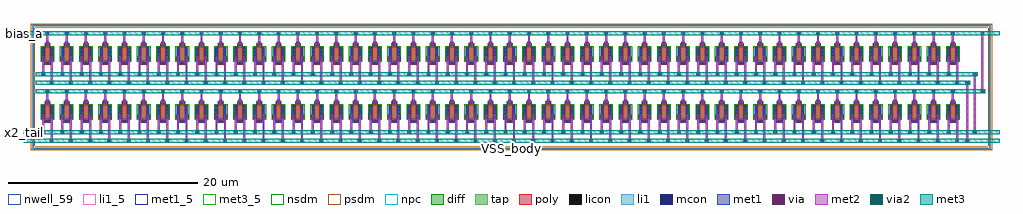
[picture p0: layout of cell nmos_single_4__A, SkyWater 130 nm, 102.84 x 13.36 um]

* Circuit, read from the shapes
.subckt nmos_single_4__A VSS VSS_body bias_a x2_tail
XM1 VSS bias_a x2_tail VSS_body sky130_fd_pr__nfet_01v8 w=1.4 l=0.6 m=96
.ends

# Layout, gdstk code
import gdstk
lib = gdstk.Library(unit=1e-6, precision=1e-09)
def R(c, l, rs):  # rectangles x0, y0, x1, y1
    for r in rs: c.add(gdstk.rectangle(r[:2], r[2:], *l))
def A(c, l, x, y, w, h, nx, ny, dx, dy):  # array of equal rectangles
    R(c, l, [(x+i*dx, y+j*dy, x+i*dx+w, y+j*dy+h) for i in range(nx) for j in range(ny)])
nwell_59 = (64, 59)
diff = (65, 20)
tap = (65, 44)
poly = (66, 20)
licon = (66, 44)
li1_5 = (67, 5)
li1 = (67, 20)
mcon = (67, 44)
met1_5 = (68, 5)
met1 = (68, 20)
via = (68, 44)
met2 = (69, 20)
via2 = (69, 44)
met3_5 = (70, 5)
met3 = (70, 20)
nsdm = (93, 44)
psdm = (94, 20)
npc = (95, 20)

sky130_fd_pr__nfet_01v8_ = lib.new_cell('sky130_fd_pr__nfet_01v8_KCM6UP')
R(sky130_fd_pr__nfet_01v8_, diff, [(-0.59,-0.7,0.59,0.7)])
R(sky130_fd_pr__nfet_01v8_, poly, [(-0.3,-1.14,0.3,1.14)])
A(sky130_fd_pr__nfet_01v8_, licon, -0.53, -0.595, 0.17, 0.17, 1, 4, 0, 0.34)
A(sky130_fd_pr__nfet_01v8_, licon, 0.36, -0.595, 0.17, 0.17, 1, 4, 0, 0.34)
R(sky130_fd_pr__nfet_01v8_, licon, [(-0.085,-1.06,0.085,-0.89), (-0.085,0.89,0.085,1.06)])
R(sky130_fd_pr__nfet_01v8_, li1, [(-0.3,-1.06,0.3,-0.89), (-0.53,-0.72,-0.36,0.72), (0.36,-0.72,0.53,0.72), (-0.3,0.89,0.3,1.06)])
A(sky130_fd_pr__nfet_01v8_, mcon, -0.53, -0.625, 0.17, 0.17, 1, 4, 0, 0.36)
A(sky130_fd_pr__nfet_01v8_, mcon, 0.36, -0.625, 0.17, 0.17, 1, 4, 0, 0.36)
R(sky130_fd_pr__nfet_01v8_, mcon, [(-0.085,-1.06,0.085,-0.89), (-0.085,0.89,0.085,1.06)])
R(sky130_fd_pr__nfet_01v8_, met1, [(-0.28,-1.09,0.28,-0.86), (-0.56,-0.7,-0.33,0.7), (0.33,-0.7,0.56,0.7), (-0.28,0.86,0.28,1.09)])
R(sky130_fd_pr__nfet_01v8_, nsdm, [(-0.715,-0.825,0.715,0.825)])
R(sky130_fd_pr__nfet_01v8_, npc, [(-0.185,-1.16,0.185,-0.79), (-0.185,0.79,0.185,1.16)])
sky130_fd_pr__nfet_01v8_.add(gdstk.Label('D', (-0.445,0), layer=67, texttype=5))
sky130_fd_pr__nfet_01v8_.add(gdstk.Label('S', (0.445,0), layer=67, texttype=5))
sky130_fd_pr__nfet_01v8_.add(gdstk.Label('G', (0,0.975), layer=67, texttype=5))

nfet_01v8_w1p4_l0p6_m96_ = lib.new_cell('nfet_01v8_W1p4_L0p6_m96__nf1_gboth_sdfull_ng')
R(nfet_01v8_w1p4_l0p6_m96_, nwell_59, [(0.05,1.09,0.15,1.19)])
R(nfet_01v8_w1p4_l0p6_m96_, met1_5, [(0.03,1.14,0.26,1.34), (0.92,1.14,1.15,1.34), (0.31,2,0.87,2.23)])
R(nfet_01v8_w1p4_l0p6_m96_, met1, [(0.03,1.14,0.26,1.34), (0.92,1.14,1.15,1.34), (0.31,2,0.87,2.23)])
nfet_01v8_w1p4_l0p6_m96_.add(gdstk.Reference(sky130_fd_pr__nfet_01v8_, (0.59,1.14)))
nfet_01v8_w1p4_l0p6_m96_.add(gdstk.Label('D', (0.145,1.24), layer=68, texttype=5))
nfet_01v8_w1p4_l0p6_m96_.add(gdstk.Label('S', (1.035,1.24), layer=68, texttype=5))
nfet_01v8_w1p4_l0p6_m96_.add(gdstk.Label('G', (0.59,2.115), layer=68, texttype=5))
nfet_01v8_w1p4_l0p6_m96_.add(gdstk.Label('B', (0.1,1.14), layer=64, texttype=59))

nmos_single_4__a = lib.new_cell('nmos_single_4__A')
R(nmos_single_4__a, tap, [(-0.885,-2.785,100.125,-2.615), (-0.885,-2.615,-0.715,10.155), (99.955,-2.615,100.125,10.155), (-0.885,10.155,100.125,10.325)])
A(nmos_single_4__a, licon, -0.445, -2.785, 0.17, 0.17, 295, 2, 0.34, 12.94)
A(nmos_single_4__a, licon, -0.885, -2.435, 0.17, 0.17, 1, 37, 0, 0.34)
A(nmos_single_4__a, licon, 99.955, -2.435, 0.17, 0.17, 1, 37, 0, 0.34)
R(nmos_single_4__a, li1_5, [(49.57,-2.75,49.67,-2.65)])
R(nmos_single_4__a, li1, [(-0.885,-2.785,100.125,-2.615), (-0.885,-2.615,-0.715,10.155), (99.955,-2.615,100.125,10.155), (-0.885,10.155,100.125,10.325)])
A(nmos_single_4__a, met1, 0.535, 2.05, 0.36, 0.36, 48, 2, 2.03, 6.12)
R(nmos_single_4__a, met1, [(0.09,0.46,0.45,0.82), (0.98,0.46,1.34,0.82), (2.12,0.46,2.48,0.82), (3.01,0.46,3.37,0.82), (4.15,0.46,4.51,0.82), (5.04,0.46,5.4,0.82), (6.18,0.46,6.54,0.82), (7.07,0.46,7.43,0.82), (8.21,0.46,8.57,0.82), (9.1,0.46,9.46,0.82), (10.24,0.46,10.6,0.82), (11.13,0.46,11.49,0.82), (12.27,0.46,12.63,0.82), (13.16,0.46,13.52,0.82), (14.3,0.46,14.66,0.82), (15.19,0.46,15.55,0.82), (16.33,0.46,16.69,0.82), (17.22,0.46,17.58,0.82), (18.36,0.46,18.72,0.82), (19.25,0.46,19.61,0.82), (20.39,0.46,20.75,0.82), (21.28,0.46,21.64,0.82), (22.42,0.46,22.78,0.82), (23.31,0.46,23.67,0.82), (24.45,0.46,24.81,0.82), (25.34,0.46,25.7,0.82), (26.48,0.46,26.84,0.82), (27.37,0.46,27.73,0.82), (28.51,0.46,28.87,0.82), (29.4,0.46,29.76,0.82), (30.54,0.46,30.9,0.82), (31.43,0.46,31.79,0.82), (32.57,0.46,32.93,0.82), (33.46,0.46,33.82,0.82), (34.6,0.46,34.96,0.82), (35.49,0.46,35.85,0.82), (36.63,0.46,36.99,0.82), (37.52,0.46,37.88,0.82), (38.66,0.46,39.02,0.82), (39.55,0.46,39.91,0.82), (40.69,0.46,41.05,0.82), (41.58,0.46,41.94,0.82), (42.72,0.46,43.08,0.82), (43.61,0.46,43.97,0.82), (44.75,0.46,45.11,0.82), (45.64,0.46,46,0.82), (46.78,0.46,47.14,0.82), (47.67,0.46,48.03,0.82), (48.81,0.46,49.17,0.82), (49.7,0.46,50.06,0.82), (50.84,0.46,51.2,0.82), (51.73,0.46,52.09,0.82), (52.87,0.46,53.23,0.82), (53.76,0.46,54.12,0.82), (54.9,0.46,55.26,0.82), (55.79,0.46,56.15,0.82), (56.93,0.46,57.29,0.82), (57.82,0.46,58.18,0.82), (58.96,0.46,59.32,0.82), (59.85,0.46,60.21,0.82), (60.99,0.46,61.35,0.82), (61.88,0.46,62.24,0.82), (63.02,0.46,63.38,0.82), (63.91,0.46,64.27,0.82), (65.05,0.46,65.41,0.82), (65.94,0.46,66.3,0.82), (67.08,0.46,67.44,0.82), (67.97,0.46,68.33,0.82), (69.11,0.46,69.47,0.82), (70,0.46,70.36,0.82), (71.14,0.46,71.5,0.82), (72.03,0.46,72.39,0.82), (73.17,0.46,73.53,0.82), (74.06,0.46,74.42,0.82), (75.2,0.46,75.56,0.82), (76.09,0.46,76.45,0.82), (77.23,0.46,77.59,0.82), (78.12,0.46,78.48,0.82), (79.26,0.46,79.62,0.82), (80.15,0.46,80.51,0.82), (81.29,0.46,81.65,0.82), (82.18,0.46,82.54,0.82), (83.32,0.46,83.68,0.82), (84.21,0.46,84.57,0.82), (85.35,0.46,85.71,0.82), (86.24,0.46,86.6,0.82), (87.38,0.46,87.74,0.82), (88.27,0.46,88.63,0.82), (89.41,0.46,89.77,0.82), (90.3,0.46,90.66,0.82), (91.44,0.46,91.8,0.82), (92.33,0.46,92.69,0.82), (93.47,0.46,93.83,0.82), (94.36,0.46,94.72,0.82), (95.5,0.46,95.86,0.82), (96.39,0.46,96.75,0.82), (0.09,6.58,0.45,6.94), (0.98,6.58,1.34,6.94), (2.12,6.58,2.48,6.94), (3.01,6.58,3.37,6.94), (4.15,6.58,4.51,6.94), (5.04,6.58,5.4,6.94), (6.18,6.58,6.54,6.94), (7.07,6.58,7.43,6.94), (8.21,6.58,8.57,6.94), (9.1,6.58,9.46,6.94), (10.24,6.58,10.6,6.94), (11.13,6.58,11.49,6.94), (12.27,6.58,12.63,6.94), (13.16,6.58,13.52,6.94), (14.3,6.58,14.66,6.94), (15.19,6.58,15.55,6.94), (16.33,6.58,16.69,6.94), (17.22,6.58,17.58,6.94), (18.36,6.58,18.72,6.94), (19.25,6.58,19.61,6.94), (20.39,6.58,20.75,6.94), (21.28,6.58,21.64,6.94), (22.42,6.58,22.78,6.94), (23.31,6.58,23.67,6.94), (24.45,6.58,24.81,6.94), (25.34,6.58,25.7,6.94), (26.48,6.58,26.84,6.94), (27.37,6.58,27.73,6.94), (28.51,6.58,28.87,6.94), (29.4,6.58,29.76,6.94), (30.54,6.58,30.9,6.94), (31.43,6.58,31.79,6.94), (32.57,6.58,32.93,6.94), (33.46,6.58,33.82,6.94), (34.6,6.58,34.96,6.94), (35.49,6.58,35.85,6.94), (36.63,6.58,36.99,6.94), (37.52,6.58,37.88,6.94), (38.66,6.58,39.02,6.94), (39.55,6.58,39.91,6.94), (40.69,6.58,41.05,6.94), (41.58,6.58,41.94,6.94), (42.72,6.58,43.08,6.94), (43.61,6.58,43.97,6.94), (44.75,6.58,45.11,6.94), (45.64,6.58,46,6.94), (46.78,6.58,47.14,6.94), (47.67,6.58,48.03,6.94), (48.81,6.58,49.17,6.94), (49.7,6.58,50.06,6.94), (50.84,6.58,51.2,6.94), (51.73,6.58,52.09,6.94), (52.87,6.58,53.23,6.94), (53.76,6.58,54.12,6.94), (54.9,6.58,55.26,6.94), (55.79,6.58,56.15,6.94), (56.93,6.58,57.29,6.94), (57.82,6.58,58.18,6.94), (58.96,6.58,59.32,6.94), (59.85,6.58,60.21,6.94), (60.99,6.58,61.35,6.94), (61.88,6.58,62.24,6.94), (63.02,6.58,63.38,6.94), (63.91,6.58,64.27,6.94), (65.05,6.58,65.41,6.94), (65.94,6.58,66.3,6.94), (67.08,6.58,67.44,6.94), (67.97,6.58,68.33,6.94), (69.11,6.58,69.47,6.94), (70,6.58,70.36,6.94), (71.14,6.58,71.5,6.94), (72.03,6.58,72.39,6.94), (73.17,6.58,73.53,6.94), (74.06,6.58,74.42,6.94), (75.2,6.58,75.56,6.94), (76.09,6.58,76.45,6.94), (77.23,6.58,77.59,6.94), (78.12,6.58,78.48,6.94), (79.26,6.58,79.62,6.94), (80.15,6.58,80.51,6.94), (81.29,6.58,81.65,6.94), (82.18,6.58,82.54,6.94), (83.32,6.58,83.68,6.94), (84.21,6.58,84.57,6.94), (85.35,6.58,85.71,6.94), (86.24,6.58,86.6,6.94), (87.38,6.58,87.74,6.94), (88.27,6.58,88.63,6.94), (89.41,6.58,89.77,6.94), (90.3,6.58,90.66,6.94), (91.44,6.58,91.8,6.94), (92.33,6.58,92.69,6.94), (93.47,6.58,93.83,6.94), (94.36,6.58,94.72,6.94), (95.5,6.58,95.86,6.94), (96.39,6.58,96.75,6.94)])
A(nmos_single_4__a, via, 0.64, 2.155, 0.15, 0.15, 48, 2, 2.03, 6.12)
R(nmos_single_4__a, via, [(0.195,0.565,0.345,0.715), (1.085,0.565,1.235,0.715), (2.225,0.565,2.375,0.715), (3.115,0.565,3.265,0.715), (4.255,0.565,4.405,0.715), (5.145,0.565,5.295,0.715), (6.285,0.565,6.435,0.715), (7.175,0.565,7.325,0.715), (8.315,0.565,8.465,0.715), (9.205,0.565,9.355,0.715), (10.345,0.565,10.495,0.715), (11.235,0.565,11.385,0.715), (12.375,0.565,12.525,0.715), (13.265,0.565,13.415,0.715), (14.405,0.565,14.555,0.715), (15.295,0.565,15.445,0.715), (16.435,0.565,16.585,0.715), (17.325,0.565,17.475,0.715), (18.465,0.565,18.615,0.715), (19.355,0.565,19.505,0.715), (20.495,0.565,20.645,0.715), (21.385,0.565,21.535,0.715), (22.525,0.565,22.675,0.715), (23.415,0.565,23.565,0.715), (24.555,0.565,24.705,0.715), (25.445,0.565,25.595,0.715), (26.585,0.565,26.735,0.715), (27.475,0.565,27.625,0.715), (28.615,0.565,28.765,0.715), (29.505,0.565,29.655,0.715), (30.645,0.565,30.795,0.715), (31.535,0.565,31.685,0.715), (32.675,0.565,32.825,0.715), (33.565,0.565,33.715,0.715), (34.705,0.565,34.855,0.715), (35.595,0.565,35.745,0.715), (36.735,0.565,36.885,0.715), (37.625,0.565,37.775,0.715), (38.765,0.565,38.915,0.715), (39.655,0.565,39.805,0.715), (40.795,0.565,40.945,0.715), (41.685,0.565,41.835,0.715), (42.825,0.565,42.975,0.715), (43.715,0.565,43.865,0.715), (44.855,0.565,45.005,0.715), (45.745,0.565,45.895,0.715), (46.885,0.565,47.035,0.715), (47.775,0.565,47.925,0.715), (48.915,0.565,49.065,0.715), (49.805,0.565,49.955,0.715), (50.945,0.565,51.095,0.715), (51.835,0.565,51.985,0.715), (52.975,0.565,53.125,0.715), (53.865,0.565,54.015,0.715), (55.005,0.565,55.155,0.715), (55.895,0.565,56.045,0.715), (57.035,0.565,57.185,0.715), (57.925,0.565,58.075,0.715), (59.065,0.565,59.215,0.715), (59.955,0.565,60.105,0.715), (61.095,0.565,61.245,0.715), (61.985,0.565,62.135,0.715), (63.125,0.565,63.275,0.715), (64.015,0.565,64.165,0.715), (65.155,0.565,65.305,0.715), (66.045,0.565,66.195,0.715), (67.185,0.565,67.335,0.715), (68.075,0.565,68.225,0.715), (69.215,0.565,69.365,0.715), (70.105,0.565,70.255,0.715), (71.245,0.565,71.395,0.715), (72.135,0.565,72.285,0.715), (73.275,0.565,73.425,0.715), (74.165,0.565,74.315,0.715), (75.305,0.565,75.455,0.715), (76.195,0.565,76.345,0.715), (77.335,0.565,77.485,0.715), (78.225,0.565,78.375,0.715), (79.365,0.565,79.515,0.715), (80.255,0.565,80.405,0.715), (81.395,0.565,81.545,0.715), (82.285,0.565,82.435,0.715), (83.425,0.565,83.575,0.715), (84.315,0.565,84.465,0.715), (85.455,0.565,85.605,0.715), (86.345,0.565,86.495,0.715), (87.485,0.565,87.635,0.715), (88.375,0.565,88.525,0.715), (89.515,0.565,89.665,0.715), (90.405,0.565,90.555,0.715), (91.545,0.565,91.695,0.715), (92.435,0.565,92.585,0.715), (93.575,0.565,93.725,0.715), (94.465,0.565,94.615,0.715), (95.605,0.565,95.755,0.715), (96.495,0.565,96.645,0.715), (0.195,6.685,0.345,6.835), (1.085,6.685,1.235,6.835), (2.225,6.685,2.375,6.835), (3.115,6.685,3.265,6.835), (4.255,6.685,4.405,6.835), (5.145,6.685,5.295,6.835), (6.285,6.685,6.435,6.835), (7.175,6.685,7.325,6.835), (8.315,6.685,8.465,6.835), (9.205,6.685,9.355,6.835), (10.345,6.685,10.495,6.835), (11.235,6.685,11.385,6.835), (12.375,6.685,12.525,6.835), (13.265,6.685,13.415,6.835), (14.405,6.685,14.555,6.835), (15.295,6.685,15.445,6.835), (16.435,6.685,16.585,6.835), (17.325,6.685,17.475,6.835), (18.465,6.685,18.615,6.835), (19.355,6.685,19.505,6.835), (20.495,6.685,20.645,6.835), (21.385,6.685,21.535,6.835), (22.525,6.685,22.675,6.835), (23.415,6.685,23.565,6.835), (24.555,6.685,24.705,6.835), (25.445,6.685,25.595,6.835), (26.585,6.685,26.735,6.835), (27.475,6.685,27.625,6.835), (28.615,6.685,28.765,6.835), (29.505,6.685,29.655,6.835), (30.645,6.685,30.795,6.835), (31.535,6.685,31.685,6.835), (32.675,6.685,32.825,6.835), (33.565,6.685,33.715,6.835), (34.705,6.685,34.855,6.835), (35.595,6.685,35.745,6.835), (36.735,6.685,36.885,6.835), (37.625,6.685,37.775,6.835), (38.765,6.685,38.915,6.835), (39.655,6.685,39.805,6.835), (40.795,6.685,40.945,6.835), (41.685,6.685,41.835,6.835), (42.825,6.685,42.975,6.835), (43.715,6.685,43.865,6.835), (44.855,6.685,45.005,6.835), (45.745,6.685,45.895,6.835), (46.885,6.685,47.035,6.835), (47.775,6.685,47.925,6.835), (48.915,6.685,49.065,6.835), (49.805,6.685,49.955,6.835), (50.945,6.685,51.095,6.835), (51.835,6.685,51.985,6.835), (52.975,6.685,53.125,6.835), (53.865,6.685,54.015,6.835), (55.005,6.685,55.155,6.835), (55.895,6.685,56.045,6.835), (57.035,6.685,57.185,6.835), (57.925,6.685,58.075,6.835), (59.065,6.685,59.215,6.835), (59.955,6.685,60.105,6.835), (61.095,6.685,61.245,6.835), (61.985,6.685,62.135,6.835), (63.125,6.685,63.275,6.835), (64.015,6.685,64.165,6.835), (65.155,6.685,65.305,6.835), (66.045,6.685,66.195,6.835), (67.185,6.685,67.335,6.835), (68.075,6.685,68.225,6.835), (69.215,6.685,69.365,6.835), (70.105,6.685,70.255,6.835), (71.245,6.685,71.395,6.835), (72.135,6.685,72.285,6.835), (73.275,6.685,73.425,6.835), (74.165,6.685,74.315,6.835), (75.305,6.685,75.455,6.835), (76.195,6.685,76.345,6.835), (77.335,6.685,77.485,6.835), (78.225,6.685,78.375,6.835), (79.365,6.685,79.515,6.835), (80.255,6.685,80.405,6.835), (81.395,6.685,81.545,6.835), (82.285,6.685,82.435,6.835), (83.425,6.685,83.575,6.835), (84.315,6.685,84.465,6.835), (85.455,6.685,85.605,6.835), (86.345,6.685,86.495,6.835), (87.485,6.685,87.635,6.835), (88.375,6.685,88.525,6.835), (89.515,6.685,89.665,6.835), (90.405,6.685,90.555,6.835), (91.545,6.685,91.695,6.835), (92.435,6.685,92.585,6.835), (93.575,6.685,93.725,6.835), (94.465,6.685,94.615,6.835), (95.605,6.685,95.755,6.835), (96.495,6.685,96.645,6.835)])
A(nmos_single_4__a, met2, 0.96, -2.1, 0.4, 0.4, 48, 2, 2.03, 6.12)
A(nmos_single_4__a, met2, 1.06, -1.7, 0.2, 2.18, 48, 2, 2.03, 6.12)
A(nmos_single_4__a, met2, 0.07, -1.2, 0.4, 0.4, 48, 2, 2.03, 6.12)
A(nmos_single_4__a, met2, 0.17, -0.8, 0.2, 1.28, 48, 2, 2.03, 6.12)
A(nmos_single_4__a, met2, 0.585, 2.07, 0.26, 0.32, 48, 2, 2.03, 6.12)
A(nmos_single_4__a, met2, 0.615, 2.39, 0.2, 0.73, 48, 2, 2.03, 6.12)
A(nmos_single_4__a, met2, 0.515, 3.12, 0.4, 0.4, 48, 2, 2.03, 6.12)
R(nmos_single_4__a, met2, [(97.44,-2.1,97.84,-1.7), (97.54,-1.7,97.74,4.02), (98.24,-1.2,98.64,-0.8), (98.34,-0.8,98.54,4.92), (0.14,0.48,0.4,0.8), (1.03,0.48,1.29,0.8), (2.17,0.48,2.43,0.8), (3.06,0.48,3.32,0.8), (4.2,0.48,4.46,0.8), (5.09,0.48,5.35,0.8), (6.23,0.48,6.49,0.8), (7.12,0.48,7.38,0.8), (8.26,0.48,8.52,0.8), (9.15,0.48,9.41,0.8), (10.29,0.48,10.55,0.8), (11.18,0.48,11.44,0.8), (12.32,0.48,12.58,0.8), (13.21,0.48,13.47,0.8), (14.35,0.48,14.61,0.8), (15.24,0.48,15.5,0.8), (16.38,0.48,16.64,0.8), (17.27,0.48,17.53,0.8), (18.41,0.48,18.67,0.8), (19.3,0.48,19.56,0.8), (20.44,0.48,20.7,0.8), (21.33,0.48,21.59,0.8), (22.47,0.48,22.73,0.8), (23.36,0.48,23.62,0.8), (24.5,0.48,24.76,0.8), (25.39,0.48,25.65,0.8), (26.53,0.48,26.79,0.8), (27.42,0.48,27.68,0.8), (28.56,0.48,28.82,0.8), (29.45,0.48,29.71,0.8), (30.59,0.48,30.85,0.8), (31.48,0.48,31.74,0.8), (32.62,0.48,32.88,0.8), (33.51,0.48,33.77,0.8), (34.65,0.48,34.91,0.8), (35.54,0.48,35.8,0.8), (36.68,0.48,36.94,0.8), (37.57,0.48,37.83,0.8), (38.71,0.48,38.97,0.8), (39.6,0.48,39.86,0.8), (40.74,0.48,41,0.8), (41.63,0.48,41.89,0.8), (42.77,0.48,43.03,0.8), (43.66,0.48,43.92,0.8), (44.8,0.48,45.06,0.8), (45.69,0.48,45.95,0.8), (46.83,0.48,47.09,0.8), (47.72,0.48,47.98,0.8), (48.86,0.48,49.12,0.8), (49.75,0.48,50.01,0.8), (50.89,0.48,51.15,0.8), (51.78,0.48,52.04,0.8), (52.92,0.48,53.18,0.8), (53.81,0.48,54.07,0.8), (54.95,0.48,55.21,0.8), (55.84,0.48,56.1,0.8), (56.98,0.48,57.24,0.8), (57.87,0.48,58.13,0.8), (59.01,0.48,59.27,0.8), (59.9,0.48,60.16,0.8), (61.04,0.48,61.3,0.8), (61.93,0.48,62.19,0.8), (63.07,0.48,63.33,0.8), (63.96,0.48,64.22,0.8), (65.1,0.48,65.36,0.8), (65.99,0.48,66.25,0.8), (67.13,0.48,67.39,0.8), (68.02,0.48,68.28,0.8), (69.16,0.48,69.42,0.8), (70.05,0.48,70.31,0.8), (71.19,0.48,71.45,0.8), (72.08,0.48,72.34,0.8), (73.22,0.48,73.48,0.8), (74.11,0.48,74.37,0.8), (75.25,0.48,75.51,0.8), (76.14,0.48,76.4,0.8), (77.28,0.48,77.54,0.8), (78.17,0.48,78.43,0.8), (79.31,0.48,79.57,0.8), (80.2,0.48,80.46,0.8), (81.34,0.48,81.6,0.8), (82.23,0.48,82.49,0.8), (83.37,0.48,83.63,0.8), (84.26,0.48,84.52,0.8), (85.4,0.48,85.66,0.8), (86.29,0.48,86.55,0.8), (87.43,0.48,87.69,0.8), (88.32,0.48,88.58,0.8), (89.46,0.48,89.72,0.8), (90.35,0.48,90.61,0.8), (91.49,0.48,91.75,0.8), (92.38,0.48,92.64,0.8), (93.52,0.48,93.78,0.8), (94.41,0.48,94.67,0.8), (95.55,0.48,95.81,0.8), (96.44,0.48,96.7,0.8), (99.04,3.12,99.44,3.52), (99.14,3.52,99.34,9.24), (97.44,4.02,97.84,4.42), (98.24,4.92,98.64,5.32), (0.14,6.6,0.4,6.92), (1.03,6.6,1.29,6.92), (2.17,6.6,2.43,6.92), (3.06,6.6,3.32,6.92), (4.2,6.6,4.46,6.92), (5.09,6.6,5.35,6.92), (6.23,6.6,6.49,6.92), (7.12,6.6,7.38,6.92), (8.26,6.6,8.52,6.92), (9.15,6.6,9.41,6.92), (10.29,6.6,10.55,6.92), (11.18,6.6,11.44,6.92), (12.32,6.6,12.58,6.92), (13.21,6.6,13.47,6.92), (14.35,6.6,14.61,6.92), (15.24,6.6,15.5,6.92), (16.38,6.6,16.64,6.92), (17.27,6.6,17.53,6.92), (18.41,6.6,18.67,6.92), (19.3,6.6,19.56,6.92), (20.44,6.6,20.7,6.92), (21.33,6.6,21.59,6.92), (22.47,6.6,22.73,6.92), (23.36,6.6,23.62,6.92), (24.5,6.6,24.76,6.92), (25.39,6.6,25.65,6.92), (26.53,6.6,26.79,6.92), (27.42,6.6,27.68,6.92), (28.56,6.6,28.82,6.92), (29.45,6.6,29.71,6.92), (30.59,6.6,30.85,6.92), (31.48,6.6,31.74,6.92), (32.62,6.6,32.88,6.92), (33.51,6.6,33.77,6.92), (34.65,6.6,34.91,6.92), (35.54,6.6,35.8,6.92), (36.68,6.6,36.94,6.92), (37.57,6.6,37.83,6.92), (38.71,6.6,38.97,6.92), (39.6,6.6,39.86,6.92), (40.74,6.6,41,6.92), (41.63,6.6,41.89,6.92), (42.77,6.6,43.03,6.92), (43.66,6.6,43.92,6.92), (44.8,6.6,45.06,6.92), (45.69,6.6,45.95,6.92), (46.83,6.6,47.09,6.92), (47.72,6.6,47.98,6.92), (48.86,6.6,49.12,6.92), (49.75,6.6,50.01,6.92), (50.89,6.6,51.15,6.92), (51.78,6.6,52.04,6.92), (52.92,6.6,53.18,6.92), (53.81,6.6,54.07,6.92), (54.95,6.6,55.21,6.92), (55.84,6.6,56.1,6.92), (56.98,6.6,57.24,6.92), (57.87,6.6,58.13,6.92), (59.01,6.6,59.27,6.92), (59.9,6.6,60.16,6.92), (61.04,6.6,61.3,6.92), (61.93,6.6,62.19,6.92), (63.07,6.6,63.33,6.92), (63.96,6.6,64.22,6.92), (65.1,6.6,65.36,6.92), (65.99,6.6,66.25,6.92), (67.13,6.6,67.39,6.92), (68.02,6.6,68.28,6.92), (69.16,6.6,69.42,6.92), (70.05,6.6,70.31,6.92), (71.19,6.6,71.45,6.92), (72.08,6.6,72.34,6.92), (73.22,6.6,73.48,6.92), (74.11,6.6,74.37,6.92), (75.25,6.6,75.51,6.92), (76.14,6.6,76.4,6.92), (77.28,6.6,77.54,6.92), (78.17,6.6,78.43,6.92), (79.31,6.6,79.57,6.92), (80.2,6.6,80.46,6.92), (81.34,6.6,81.6,6.92), (82.23,6.6,82.49,6.92), (83.37,6.6,83.63,6.92), (84.26,6.6,84.52,6.92), (85.4,6.6,85.66,6.92), (86.29,6.6,86.55,6.92), (87.43,6.6,87.69,6.92), (88.32,6.6,88.58,6.92), (89.46,6.6,89.72,6.92), (90.35,6.6,90.61,6.92), (91.49,6.6,91.75,6.92), (92.38,6.6,92.64,6.92), (93.52,6.6,93.78,6.92), (94.41,6.6,94.67,6.92), (95.55,6.6,95.81,6.92), (96.44,6.6,96.7,6.92), (99.04,9.24,99.44,9.64)])
A(nmos_single_4__a, via2, 1.06, -2, 0.2, 0.2, 48, 2, 2.03, 6.12)
A(nmos_single_4__a, via2, 0.17, -1.1, 0.2, 0.2, 48, 2, 2.03, 6.12)
A(nmos_single_4__a, via2, 0.615, 3.22, 0.2, 0.2, 48, 2, 2.03, 6.12)
R(nmos_single_4__a, via2, [(97.54,-2,97.74,-1.8), (98.34,-1.1,98.54,-0.9), (99.14,3.22,99.34,3.42), (97.54,4.12,97.74,4.32), (98.34,5.02,98.54,5.22), (99.14,9.34,99.34,9.54)])
R(nmos_single_4__a, met3_5, [(-1.7,-1.95,-1.6,-1.85), (-1.7,-1.05,-1.6,-0.95), (-1.7,9.39,-1.6,9.49)])
R(nmos_single_4__a, met3, [(-1.8,-2.1,101.04,-1.7), (-1.8,-1.2,101.04,-0.8), (-0.5,3.12,99.54,3.52), (-0.5,4.02,97.94,4.42), (-0.5,4.92,98.74,5.32), (-1.8,9.24,101.04,9.64)])
R(nmos_single_4__a, psdm, [(-1.01,-2.91,100.25,-2.49), (-1.01,-2.49,-0.59,10.03), (99.83,-2.49,100.25,10.03), (-1.01,10.03,100.25,10.45)])
nmos_single_4__a.add(gdstk.Reference(nfet_01v8_w1p4_l0p6_m96_, (95.54,6.12)))
nmos_single_4__a.add(gdstk.Reference(nfet_01v8_w1p4_l0p6_m96_, (93.51,6.12)))
nmos_single_4__a.add(gdstk.Reference(nfet_01v8_w1p4_l0p6_m96_, (91.48,6.12)))
nmos_single_4__a.add(gdstk.Reference(nfet_01v8_w1p4_l0p6_m96_, (89.45,6.12)))
nmos_single_4__a.add(gdstk.Reference(nfet_01v8_w1p4_l0p6_m96_, (87.42,6.12)))
nmos_single_4__a.add(gdstk.Reference(nfet_01v8_w1p4_l0p6_m96_, (85.39,6.12)))
nmos_single_4__a.add(gdstk.Reference(nfet_01v8_w1p4_l0p6_m96_, (83.36,6.12)))
nmos_single_4__a.add(gdstk.Reference(nfet_01v8_w1p4_l0p6_m96_, (81.33,6.12)))
nmos_single_4__a.add(gdstk.Reference(nfet_01v8_w1p4_l0p6_m96_, (79.3,6.12)))
nmos_single_4__a.add(gdstk.Reference(nfet_01v8_w1p4_l0p6_m96_, (77.27,6.12)))
nmos_single_4__a.add(gdstk.Reference(nfet_01v8_w1p4_l0p6_m96_, (75.24,6.12)))
nmos_single_4__a.add(gdstk.Reference(nfet_01v8_w1p4_l0p6_m96_, (73.21,6.12)))
nmos_single_4__a.add(gdstk.Reference(nfet_01v8_w1p4_l0p6_m96_, (71.18,6.12)))
nmos_single_4__a.add(gdstk.Reference(nfet_01v8_w1p4_l0p6_m96_, (69.15,6.12)))
nmos_single_4__a.add(gdstk.Reference(nfet_01v8_w1p4_l0p6_m96_, (67.12,6.12)))
nmos_single_4__a.add(gdstk.Reference(nfet_01v8_w1p4_l0p6_m96_, (65.09,6.12)))
nmos_single_4__a.add(gdstk.Reference(nfet_01v8_w1p4_l0p6_m96_, (63.06,6.12)))
nmos_single_4__a.add(gdstk.Reference(nfet_01v8_w1p4_l0p6_m96_, (61.03,6.12)))
nmos_single_4__a.add(gdstk.Reference(nfet_01v8_w1p4_l0p6_m96_, (59,6.12)))
nmos_single_4__a.add(gdstk.Reference(nfet_01v8_w1p4_l0p6_m96_, (56.97,6.12)))
nmos_single_4__a.add(gdstk.Reference(nfet_01v8_w1p4_l0p6_m96_, (54.94,6.12)))
nmos_single_4__a.add(gdstk.Reference(nfet_01v8_w1p4_l0p6_m96_, (52.91,6.12)))
nmos_single_4__a.add(gdstk.Reference(nfet_01v8_w1p4_l0p6_m96_, (50.88,6.12)))
nmos_single_4__a.add(gdstk.Reference(nfet_01v8_w1p4_l0p6_m96_, (48.85,6.12)))
nmos_single_4__a.add(gdstk.Reference(nfet_01v8_w1p4_l0p6_m96_, (46.82,6.12)))
nmos_single_4__a.add(gdstk.Reference(nfet_01v8_w1p4_l0p6_m96_, (44.79,6.12)))
nmos_single_4__a.add(gdstk.Reference(nfet_01v8_w1p4_l0p6_m96_, (42.76,6.12)))
nmos_single_4__a.add(gdstk.Reference(nfet_01v8_w1p4_l0p6_m96_, (40.73,6.12)))
nmos_single_4__a.add(gdstk.Reference(nfet_01v8_w1p4_l0p6_m96_, (38.7,6.12)))
nmos_single_4__a.add(gdstk.Reference(nfet_01v8_w1p4_l0p6_m96_, (36.67,6.12)))
nmos_single_4__a.add(gdstk.Reference(nfet_01v8_w1p4_l0p6_m96_, (34.64,6.12)))
nmos_single_4__a.add(gdstk.Reference(nfet_01v8_w1p4_l0p6_m96_, (32.61,6.12)))
nmos_single_4__a.add(gdstk.Reference(nfet_01v8_w1p4_l0p6_m96_, (30.58,6.12)))
nmos_single_4__a.add(gdstk.Reference(nfet_01v8_w1p4_l0p6_m96_, (28.55,6.12)))
nmos_single_4__a.add(gdstk.Reference(nfet_01v8_w1p4_l0p6_m96_, (26.52,6.12)))
nmos_single_4__a.add(gdstk.Reference(nfet_01v8_w1p4_l0p6_m96_, (24.49,6.12)))
nmos_single_4__a.add(gdstk.Reference(nfet_01v8_w1p4_l0p6_m96_, (22.46,6.12)))
nmos_single_4__a.add(gdstk.Reference(nfet_01v8_w1p4_l0p6_m96_, (20.43,6.12)))
nmos_single_4__a.add(gdstk.Reference(nfet_01v8_w1p4_l0p6_m96_, (18.4,6.12)))
nmos_single_4__a.add(gdstk.Reference(nfet_01v8_w1p4_l0p6_m96_, (16.37,6.12)))
nmos_single_4__a.add(gdstk.Reference(nfet_01v8_w1p4_l0p6_m96_, (14.34,6.12)))
nmos_single_4__a.add(gdstk.Reference(nfet_01v8_w1p4_l0p6_m96_, (12.31,6.12)))
nmos_single_4__a.add(gdstk.Reference(nfet_01v8_w1p4_l0p6_m96_, (10.28,6.12)))
nmos_single_4__a.add(gdstk.Reference(nfet_01v8_w1p4_l0p6_m96_, (8.25,6.12)))
nmos_single_4__a.add(gdstk.Reference(nfet_01v8_w1p4_l0p6_m96_, (6.22,6.12)))
nmos_single_4__a.add(gdstk.Reference(nfet_01v8_w1p4_l0p6_m96_, (4.19,6.12)))
nmos_single_4__a.add(gdstk.Reference(nfet_01v8_w1p4_l0p6_m96_, (2.16,6.12)))
nmos_single_4__a.add(gdstk.Reference(nfet_01v8_w1p4_l0p6_m96_, (0.13,6.12)))
nmos_single_4__a.add(gdstk.Reference(nfet_01v8_w1p4_l0p6_m96_, (95.54,0)))
nmos_single_4__a.add(gdstk.Reference(nfet_01v8_w1p4_l0p6_m96_, (93.51,0)))
nmos_single_4__a.add(gdstk.Reference(nfet_01v8_w1p4_l0p6_m96_, (91.48,0)))
nmos_single_4__a.add(gdstk.Reference(nfet_01v8_w1p4_l0p6_m96_, (89.45,0)))
nmos_single_4__a.add(gdstk.Reference(nfet_01v8_w1p4_l0p6_m96_, (87.42,0)))
nmos_single_4__a.add(gdstk.Reference(nfet_01v8_w1p4_l0p6_m96_, (85.39,0)))
nmos_single_4__a.add(gdstk.Reference(nfet_01v8_w1p4_l0p6_m96_, (83.36,0)))
nmos_single_4__a.add(gdstk.Reference(nfet_01v8_w1p4_l0p6_m96_, (81.33,0)))
nmos_single_4__a.add(gdstk.Reference(nfet_01v8_w1p4_l0p6_m96_, (79.3,0)))
nmos_single_4__a.add(gdstk.Reference(nfet_01v8_w1p4_l0p6_m96_, (77.27,0)))
nmos_single_4__a.add(gdstk.Reference(nfet_01v8_w1p4_l0p6_m96_, (75.24,0)))
nmos_single_4__a.add(gdstk.Reference(nfet_01v8_w1p4_l0p6_m96_, (73.21,0)))
nmos_single_4__a.add(gdstk.Reference(nfet_01v8_w1p4_l0p6_m96_, (71.18,0)))
nmos_single_4__a.add(gdstk.Reference(nfet_01v8_w1p4_l0p6_m96_, (69.15,0)))
nmos_single_4__a.add(gdstk.Reference(nfet_01v8_w1p4_l0p6_m96_, (67.12,0)))
nmos_single_4__a.add(gdstk.Reference(nfet_01v8_w1p4_l0p6_m96_, (65.09,0)))
nmos_single_4__a.add(gdstk.Reference(nfet_01v8_w1p4_l0p6_m96_, (63.06,0)))
nmos_single_4__a.add(gdstk.Reference(nfet_01v8_w1p4_l0p6_m96_, (61.03,0)))
nmos_single_4__a.add(gdstk.Reference(nfet_01v8_w1p4_l0p6_m96_, (59,0)))
nmos_single_4__a.add(gdstk.Reference(nfet_01v8_w1p4_l0p6_m96_, (56.97,0)))
nmos_single_4__a.add(gdstk.Reference(nfet_01v8_w1p4_l0p6_m96_, (54.94,0)))
nmos_single_4__a.add(gdstk.Reference(nfet_01v8_w1p4_l0p6_m96_, (52.91,0)))
nmos_single_4__a.add(gdstk.Reference(nfet_01v8_w1p4_l0p6_m96_, (50.88,0)))
nmos_single_4__a.add(gdstk.Reference(nfet_01v8_w1p4_l0p6_m96_, (48.85,0)))
nmos_single_4__a.add(gdstk.Reference(nfet_01v8_w1p4_l0p6_m96_, (46.82,0)))
nmos_single_4__a.add(gdstk.Reference(nfet_01v8_w1p4_l0p6_m96_, (44.79,0)))
nmos_single_4__a.add(gdstk.Reference(nfet_01v8_w1p4_l0p6_m96_, (42.76,0)))
nmos_single_4__a.add(gdstk.Reference(nfet_01v8_w1p4_l0p6_m96_, (40.73,0)))
nmos_single_4__a.add(gdstk.Reference(nfet_01v8_w1p4_l0p6_m96_, (38.7,0)))
nmos_single_4__a.add(gdstk.Reference(nfet_01v8_w1p4_l0p6_m96_, (36.67,0)))
nmos_single_4__a.add(gdstk.Reference(nfet_01v8_w1p4_l0p6_m96_, (34.64,0)))
nmos_single_4__a.add(gdstk.Reference(nfet_01v8_w1p4_l0p6_m96_, (32.61,0)))
nmos_single_4__a.add(gdstk.Reference(nfet_01v8_w1p4_l0p6_m96_, (30.58,0)))
nmos_single_4__a.add(gdstk.Reference(nfet_01v8_w1p4_l0p6_m96_, (28.55,0)))
nmos_single_4__a.add(gdstk.Reference(nfet_01v8_w1p4_l0p6_m96_, (26.52,0)))
nmos_single_4__a.add(gdstk.Reference(nfet_01v8_w1p4_l0p6_m96_, (24.49,0)))
nmos_single_4__a.add(gdstk.Reference(nfet_01v8_w1p4_l0p6_m96_, (22.46,0)))
nmos_single_4__a.add(gdstk.Reference(nfet_01v8_w1p4_l0p6_m96_, (20.43,0)))
nmos_single_4__a.add(gdstk.Reference(nfet_01v8_w1p4_l0p6_m96_, (18.4,0)))
nmos_single_4__a.add(gdstk.Reference(nfet_01v8_w1p4_l0p6_m96_, (16.37,0)))
nmos_single_4__a.add(gdstk.Reference(nfet_01v8_w1p4_l0p6_m96_, (14.34,0)))
nmos_single_4__a.add(gdstk.Reference(nfet_01v8_w1p4_l0p6_m96_, (12.31,0)))
nmos_single_4__a.add(gdstk.Reference(nfet_01v8_w1p4_l0p6_m96_, (10.28,0)))
nmos_single_4__a.add(gdstk.Reference(nfet_01v8_w1p4_l0p6_m96_, (8.25,0)))
nmos_single_4__a.add(gdstk.Reference(nfet_01v8_w1p4_l0p6_m96_, (6.22,0)))
nmos_single_4__a.add(gdstk.Reference(nfet_01v8_w1p4_l0p6_m96_, (4.19,0)))
nmos_single_4__a.add(gdstk.Reference(nfet_01v8_w1p4_l0p6_m96_, (2.16,0)))
nmos_single_4__a.add(gdstk.Reference(nfet_01v8_w1p4_l0p6_m96_, (0.13,0)))
nmos_single_4__a.add(gdstk.Label('bias_a', (-1.65,9.44), layer=70, texttype=5))
nmos_single_4__a.add(gdstk.Label('x2_tail', (-1.65,-1), layer=70, texttype=5))
nmos_single_4__a.add(gdstk.Label('VSS', (-1.65,-1.9), layer=70, texttype=5))
nmos_single_4__a.add(gdstk.Label('VSS_body', (49.62,-2.7), layer=67, texttype=5))

lib.write_gds('nmos_single_4__A.gds')
